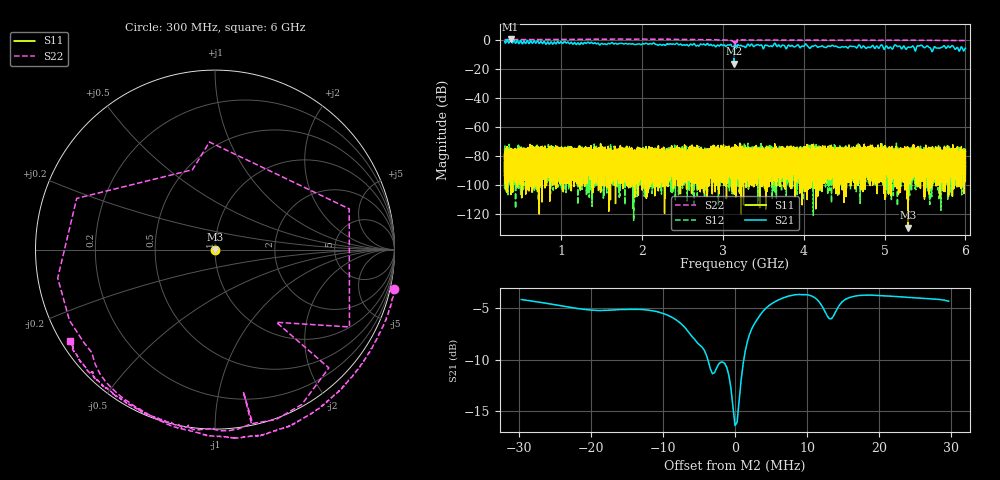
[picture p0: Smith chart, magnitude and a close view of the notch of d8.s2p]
!Agilent Technologies,N5230C,SG49000117,A.08.50.07
!Agilent N5230C: A.08.50.07
!Date: Monday, March 18, 2024 18:07:58
!Correction: S11(Off)
!S21(Off)
!S12(Off)
!S22(Full 1 Port(2))
!S2P File: Measurements: S11, S21, S12, S22:
# Hz S  RI  R 50
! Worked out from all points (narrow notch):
!   20001 points, 300 MHz to 6 GHz, reference 50 ohm
!   highest |S21| = 0.45 dB at 373.8 MHz (marker M1); lowest = -16.4 dB at 3.14 GHz (marker M2)
!   notch at M2: 12.8 dB deep, 4.98 MHz wide at half that depth
!   lowest |S11| = -129.2 dB at 5.289 GHz (marker M3), VSWR 1.00, Z = 50 - j2.77e-05 ohm
!   |S11| at or under -10 dB: start of sweep to end of sweep
!   |S22| runs from -13.8 to 0.6 dB; largest |S21 - S12| = 1.1
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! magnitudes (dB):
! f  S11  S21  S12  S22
! 300 MHz  -79.9  -1.0  -85.3  0.2
! 373.8 MHz  -81.0  0.4  -79.5  0.2
! 1.25 GHz  -92.7  -1.8  -83.9  0.4
! 2.2 GHz  -79.4  -3.8  -84.3  0.5
! 3.079 GHz  -86.5  -3.5  -80.2  -0.2
! 3.14 GHz  -78.7  -16.4  -77.7  -10.9
! 3.15 GHz  -79.5  -3.7  -79.1  -1.4
! 3.186 GHz  -84.3  -3.2  -85.7  0.1
! 3.266 GHz  -84.5  -4.6  -84.0  0.0
! 3.332 GHz  -85.4  -4.2  -75.6  0.0
! 4.026 GHz  -98.0  -2.8  -84.9  -0.2
! 4.1 GHz  -75.9  -4.3  -84.4  -0.1
! 5.05 GHz  -106.1  -5.9  -83.5  -0.2
! 5.146 GHz  -78.3  -3.8  -93.5  -0.2
! 5.289 GHz  -129.2  -5.0  -91.2  -0.2
! 5.388 GHz  -84.0  -6.7  -85.3  -0.2
! 5.439 GHz  -75.0  -3.9  -87.0  -0.3
! 5.54 GHz  -80.1  -4.5  -80.7  -0.3
! 5.579 GHz  -82.9  -7.1  -89.8  -0.3
! 5.817 GHz  -88.5  -5.0  -81.0  -0.4
! 5.971 GHz  -76.9  -7.0  -80.9  -0.4
! 6 GHz  -75.4  -5.7  -83.7  -0.4
